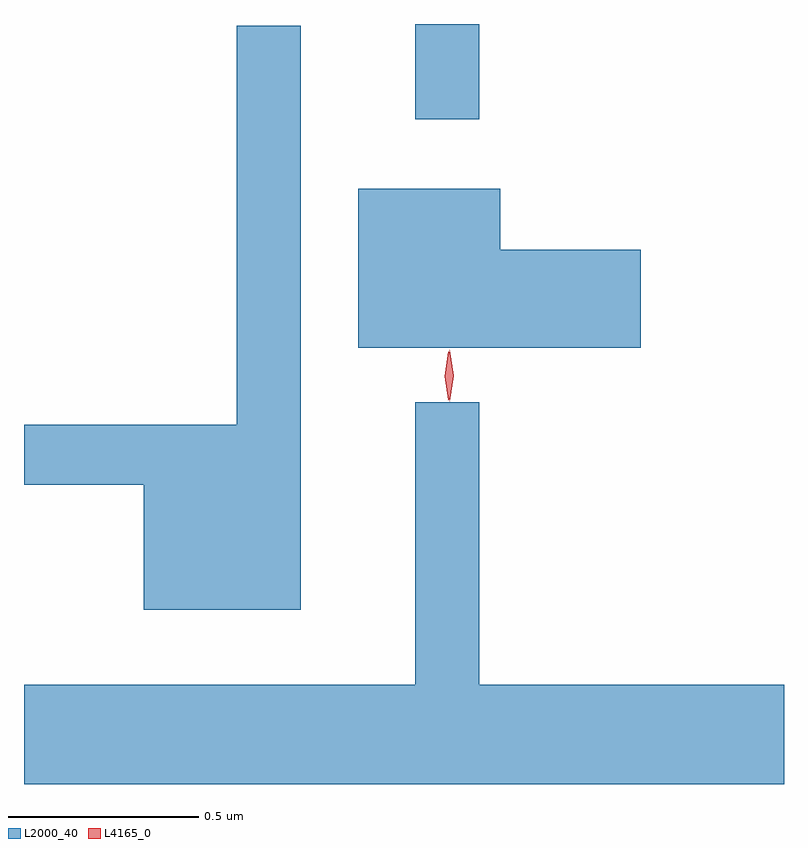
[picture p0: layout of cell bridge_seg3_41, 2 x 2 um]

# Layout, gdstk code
import gdstk
lib = gdstk.Library(unit=1e-6, precision=1e-09)
def R(c, l, rs):  # rectangles x0, y0, x1, y1
    for r in rs: c.add(gdstk.rectangle(r[:2], r[2:], *l))
def P(c, l, *ps):  # polygons
    for p in ps: c.add(gdstk.Polygon(p, *l))
L2000_40 = (2000, 40)
L4165_0 = (4165, 0)

bridge_seg3_41 = lib.new_cell('bridge_seg3_41')
R(bridge_seg3_41, L2000_40, [(1174.681,1209.913,1174.849,1210.163)])
P(bridge_seg3_41, L2000_40, [(1174.379,1210.158),(1174.211,1210.158),(1174.211,1209.109),(1173.651,1209.109),(1173.651,1208.951),(1173.966,1208.951),(1173.966,1208.621),(1174.379,1208.621)],
  [(1175.274,1209.569),(1174.904,1209.569),(1174.904,1209.729),(1174.531,1209.729),(1174.531,1209.311),(1175.274,1209.311)],
  [(1175.651,1208.424),(1174.849,1208.424),(1174.849,1209.168),(1174.681,1209.168),(1174.681,1208.424),(1173.651,1208.424),(1173.651,1208.163),(1175.651,1208.163)])
P(bridge_seg3_41, L4165_0, [(1174.772,1209.17),(1174.772,1209.17),(1174.762,1209.238),(1174.772,1209.305),(1174.772,1209.306),(1174.772,1209.305),(1174.782,1209.238),(1174.772,1209.17)],
  [(1174.768,1209.173),(1174.768,1209.174),(1174.758,1209.236),(1174.768,1209.3),(1174.768,1209.3),(1174.769,1209.3),(1174.778,1209.236),(1174.769,1209.174)])

lib.write_gds('bridge_seg3_41.gds')
